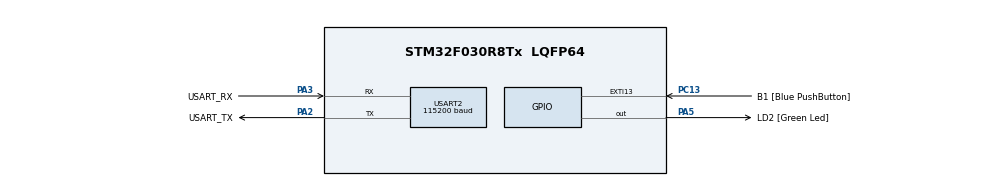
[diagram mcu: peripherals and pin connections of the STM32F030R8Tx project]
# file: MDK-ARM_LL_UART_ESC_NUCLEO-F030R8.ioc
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Mcu.Family=STM32F0
Mcu.Name=STM32F030R8Tx
Mcu.Package=LQFP64
NVIC.USART2_IRQn=true\:0\:0\:false\:false\:true\:true\:true
PA13.GPIO_Label=TMS
PA13.Mode=Serial_Wire
PA13.Signal=SYS_SWDIO
PA14.GPIO_Label=TCK
PA14.Mode=Serial_Wire
PA14.Signal=SYS_SWCLK
PA2.GPIO_Label=USART_TX
PA2.GPIO_Mode=GPIO_MODE_AF_PP
PA2.GPIO_PuPd=GPIO_NOPULL
PA2.GPIO_Speed=GPIO_SPEED_FREQ_LOW
PA2.Mode=Asynchronous
PA2.Signal=USART2_TX
PA3.GPIO_Label=USART_RX
PA3.GPIO_Mode=GPIO_MODE_AF_PP
PA3.GPIO_PuPd=GPIO_NOPULL
PA3.GPIO_Speed=GPIO_SPEED_FREQ_LOW
PA3.Mode=Asynchronous
PA3.Signal=USART2_RX
PA5.GPIO_Label=LD2 [Green Led]
PA5.GPIO_Mode=GPIO_MODE_OUTPUT_PP
PA5.GPIO_PuPd=GPIO_NOPULL
PA5.GPIO_Speed=GPIO_SPEED_FREQ_LOW
PA5.Signal=GPIO_Output
PC13.GPIO_Label=B1 [Blue PushButton]
PC13.GPIO_ModeDefaultEXTI=GPIO_MODE_IT_FALLING
PC13.Signal=GPXTI13
PC14-OSC32_IN.Mode=LSE-External-Oscillator
PC14-OSC32_IN.Signal=RCC_OSC32_IN
PC15-OSC32_OUT.Mode=LSE-External-Oscillator
PC15-OSC32_OUT.Signal=RCC_OSC32_OUT
PF0-OSC_IN.Mode=HSE-External-Clock-Source
PF0-OSC_IN.Signal=RCC_OSC_IN
PF1-OSC_OUT.Signal=RCC_OSC_OUT
ProjectManager.HeapSize=0x200
ProjectManager.StackSize=0x400
ProjectManager.TargetToolchain=MDK-ARM V5.27
RCC.AHBFreq_Value=48000000
RCC.APB1Freq_Value=48000000
RCC.APB1TimFreq_Value=48000000
RCC.HCLKFreq_Value=48000000
RCC.PLLMUL=RCC_PLL_MUL12
RCC.SYSCLKFreq_VALUE=48000000
RCC.SYSCLKSource=RCC_SYSCLKSOURCE_PLLCLK
USART2.BaudRate=115200
USART2.VirtualMode-Asynchronous=VM_ASYNC
board=NUCLEO-F030R8

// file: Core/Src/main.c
/* USER CODE BEGIN Header */
/**
  ******************************************************************************
  * @file           : main.c
  * @brief          : Main program body
  ******************************************************************************
  * @attention
  *
  * <h2><center>&copy; Copyright (c) 2020 STMicroelectronics.
  * All rights reserved.</center></h2>
  *
  * This software component is licensed by ST under BSD 3-Clause license,
  * the "License"; You may not use this file except in compliance with the
  * License. You may obtain a copy of the License at:
  *                        opensource.org/licenses/BSD-3-Clause
  *
  ******************************************************************************
  */
/* USER CODE END Header */
#include "main.h"

/* USER CODE BEGIN Includes */
#include "trice.h"
#include "triceEscFifo.h"
#include "triceInterfaceUART.h"
/* USER CODE END Includes */

/* USER CODE BEGIN PV */
int milliSecond = 0;
/* USER CODE END PV */

void SystemClock_Config(void);
static void MX_GPIO_Init(void);
static void MX_USART2_UART_Init(void);

int main(void)
{
  /* USER CODE BEGIN 1 */
#ifdef ENCRYPT
    InitXteaTable();
#endif
  /* USER CODE END 1 */

  /* MCU Configuration--------------------------------------------------------*/

  /* Reset of all peripherals, Initializes the Flash interface and the Systick. */

  LL_APB1_GRP2_EnableClock(LL_APB1_GRP2_PERIPH_SYSCFG);
  LL_APB1_GRP1_EnableClock(LL_APB1_GRP1_PERIPH_PWR);

  /* System interrupt init*/

  /* Configure the system clock */
  SystemClock_Config();

  /* USER CODE BEGIN SysInit */
    SysTick->CTRL |= SysTick_CTRL_TICKINT_Msk; // enable SysTick interrupt
  /* USER CODE END SysInit */

  /* Initialize all configured peripherals */
  MX_GPIO_Init();
  MX_USART2_UART_Init();
  /* USER CODE BEGIN 2 */
    LL_USART_EnableIT_RXNE(TRICE_UART); // enable UART2 interrupt
    TRICE0( Id(60242), "\ns:                                        \ns:   ARM-MDK_LL_UART_ESC_NUCLEO-F030R8    \ns:                                        \n\n");
  /* USER CODE END 2 */

  /* Infinite loop */
  /* USER CODE BEGIN WHILE */
  while (1)
  {
        static int lastTricesTime = 0;
        { // send some trices every few ms
            if( milliSecond >= lastTricesTime + 100 ){
                static int index = 0;
                TRICE64_2( Id(45495),"MSG: triceEscFifoMaxDepth = %d, index = %d\n", triceEscFifoMaxDepth, index );
                TRICE64_2( Id(45495),"MSG: triceEscFifoMaxDepth = %d, index = %d\n", triceEscFifoMaxDepth, index );
                TRICE64_2( Id(45495),"MSG: triceEscFifoMaxDepth = %d, index = %d\n", triceEscFifoMaxDepth, index );
                triceCheckSet(index%10);
                index++;
                lastTricesTime = milliSecond;
            }
        }
    /* USER CODE END WHILE */

  }
}

void SystemClock_Config(void)
{
  LL_FLASH_SetLatency(LL_FLASH_LATENCY_1);
  while(LL_FLASH_GetLatency() != LL_FLASH_LATENCY_1)
  {
  }
  LL_RCC_HSI_Enable();

   /* Wait till HSI is ready */
  while(LL_RCC_HSI_IsReady() != 1)
  {

  }
  LL_RCC_HSI_SetCalibTrimming(16);
  LL_RCC_PLL_ConfigDomain_SYS(LL_RCC_PLLSOURCE_HSI_DIV_2, LL_RCC_PLL_MUL_12);
  LL_RCC_PLL_Enable();

   /* Wait till PLL is ready */
  while(LL_RCC_PLL_IsReady() != 1)
  {

  }
  LL_RCC_SetAHBPrescaler(LL_RCC_SYSCLK_DIV_1);
  LL_RCC_SetAPB1Prescaler(LL_RCC_APB1_DIV_1);
  LL_RCC_SetSysClkSource(LL_RCC_SYS_CLKSOURCE_PLL);

   /* Wait till System clock is ready */
  while(LL_RCC_GetSysClkSource() != LL_RCC_SYS_CLKSOURCE_STATUS_PLL)
  {

  }
  LL_Init1msTick(48000000);
  LL_SetSystemCoreClock(48000000);
}

static void MX_USART2_UART_Init(void)
{

  LL_USART_InitTypeDef USART_InitStruct = {0};

  LL_GPIO_InitTypeDef GPIO_InitStruct = {0};

  /* Peripheral clock enable */
  LL_APB1_GRP1_EnableClock(LL_APB1_GRP1_PERIPH_USART2);

  LL_AHB1_GRP1_EnableClock(LL_AHB1_GRP1_PERIPH_GPIOA);
  /**USART2 GPIO Configuration
  PA2   ------> USART2_TX
  PA3   ------> USART2_RX
  */
  GPIO_InitStruct.Pin = USART_TX_Pin;
  GPIO_InitStruct.Mode = LL_GPIO_MODE_ALTERNATE;
  GPIO_InitStruct.Speed = LL_GPIO_SPEED_FREQ_LOW;
  GPIO_InitStruct.OutputType = LL_GPIO_OUTPUT_PUSHPULL;
  GPIO_InitStruct.Pull = LL_GPIO_PULL_NO;
  GPIO_InitStruct.Alternate = LL_GPIO_AF_1;
  LL_GPIO_Init(USART_TX_GPIO_Port, &GPIO_InitStruct);

  GPIO_InitStruct.Pin = USART_RX_Pin;
  GPIO_InitStruct.Mode = LL_GPIO_MODE_ALTERNATE;
  GPIO_InitStruct.Speed = LL_GPIO_SPEED_FREQ_LOW;
  GPIO_InitStruct.OutputType = LL_GPIO_OUTPUT_PUSHPULL;
  GPIO_InitStruct.Pull = LL_GPIO_PULL_NO;
  GPIO_InitStruct.Alternate = LL_GPIO_AF_1;
  LL_GPIO_Init(USART_RX_GPIO_Port, &GPIO_InitStruct);

  /* USART2 interrupt Init */
  NVIC_SetPriority(USART2_IRQn, 0);
  NVIC_EnableIRQ(USART2_IRQn);

  USART_InitStruct.BaudRate = 115200;
  USART_InitStruct.DataWidth = LL_USART_DATAWIDTH_8B;
  USART_InitStruct.StopBits = LL_USART_STOPBITS_1;
  USART_InitStruct.Parity = LL_USART_PARITY_NONE;
  USART_InitStruct.TransferDirection = LL_USART_DIRECTION_TX_RX;
  USART_InitStruct.HardwareFlowControl = LL_USART_HWCONTROL_NONE;
  USART_InitStruct.OverSampling = LL_USART_OVERSAMPLING_16;
  LL_USART_Init(USART2, &USART_InitStruct);
  LL_USART_DisableIT_CTS(USART2);
  LL_USART_ConfigAsyncMode(USART2);
  LL_USART_Enable(USART2);

}

static void MX_GPIO_Init(void)
{
  LL_EXTI_InitTypeDef EXTI_InitStruct = {0};
  LL_GPIO_InitTypeDef GPIO_InitStruct = {0};

  /* GPIO Ports Clock Enable */
  LL_AHB1_GRP1_EnableClock(LL_AHB1_GRP1_PERIPH_GPIOC);
  LL_AHB1_GRP1_EnableClock(LL_AHB1_GRP1_PERIPH_GPIOF);
  LL_AHB1_GRP1_EnableClock(LL_AHB1_GRP1_PERIPH_GPIOA);

  /**/
  LL_GPIO_ResetOutputPin(LD2_GPIO_Port, LD2_Pin);

  /**/
  LL_SYSCFG_SetEXTISource(LL_SYSCFG_EXTI_PORTC, LL_SYSCFG_EXTI_LINE13);

  /**/
  LL_GPIO_SetPinPull(B1_GPIO_Port, B1_Pin, LL_GPIO_PULL_NO);

  /**/
  LL_GPIO_SetPinMode(B1_GPIO_Port, B1_Pin, LL_GPIO_MODE_INPUT);

  /**/
  EXTI_InitStruct.Line_0_31 = LL_EXTI_LINE_13;
  EXTI_InitStruct.LineCommand = ENABLE;
  EXTI_InitStruct.Mode = LL_EXTI_MODE_IT;
  EXTI_InitStruct.Trigger = LL_EXTI_TRIGGER_FALLING;
  LL_EXTI_Init(&EXTI_InitStruct);

  /**/
  GPIO_InitStruct.Pin = LD2_Pin;
  GPIO_InitStruct.Mode = LL_GPIO_MODE_OUTPUT;
  GPIO_InitStruct.Speed = LL_GPIO_SPEED_FREQ_LOW;
  GPIO_InitStruct.OutputType = LL_GPIO_OUTPUT_PUSHPULL;
  GPIO_InitStruct.Pull = LL_GPIO_PULL_NO;
  LL_GPIO_Init(LD2_GPIO_Port, &GPIO_InitStruct);

}

void Error_Handler(void)
{
}

/************************ (C) COPYRIGHT STMicroelectronics *****END OF FILE****/
